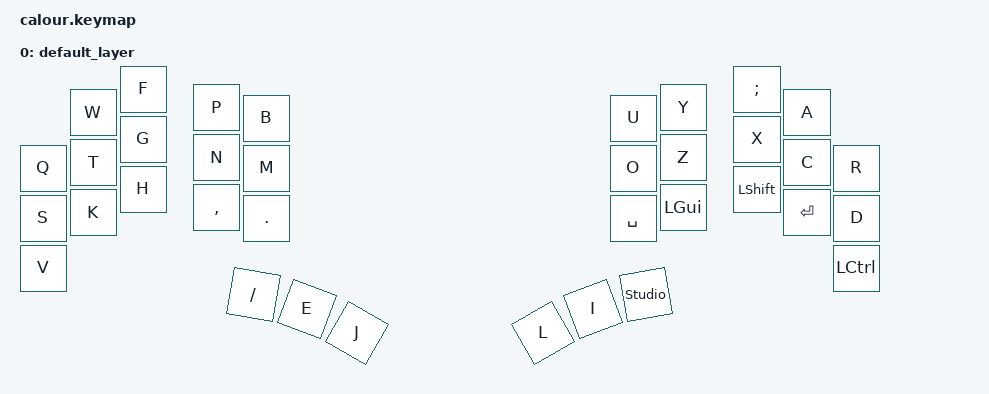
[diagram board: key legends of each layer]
// This file was generated from a template. Edit it to match your keyboard.
// See https://zmk.dev/docs/development/hardware-integration/new-shield for more instructions.

#include <behaviors.dtsi>
#include <dt-bindings/zmk/keys.h>

/*

TO TYPE:
Symbols: ~`@#$%^&*-_=+/\|;:'",.?! (Number of symbols: 24)
    Shifting Behaviour:
      ` -> ~

Paran: []<>{}() (Number of symbols: 8)
    Shifting Behaviour:
      () -> <>
      [] -> {}

Alphas: 26
Numbers: 10 (Shift turns into numpad)

Combo Possibilities:
Vertical: 2 per column incl. thumbs, so 2/col * 6col/side * 2 sides = 24
Horizontal: Index finger has 3/side, Pinky/Ring has 2/side, so (2/3)*2 = 10
Multi: Middle/Ring has 3/side, so 2*3 = 6
Homerow: 8 keys total, so 8C2 = 28
Homerow full chording: 219 combinations

24+10+6+28 = 68

*/
#define DEF 0
#define NAV 1
#define NUM 2

/ {
    // Define a default keymap here.
    // See https://zmk.dev/docs/development/hardware-integration/new-shield#default-keymap.
    keymap {
        compatible = "zmk,keymap";

        default_layer {
            bindings = <
                &kp Q &kp W &kp F &kp P &kp B   &kp J &kp L &kp U &kp Y &kp SEMICOLON
                &kp A &kp R &kp S &kp T &kp G   &kp N &kp M &kp E &kp I &kp O
                &kp Z &kp X &kp C &kp D &kp V   &kp K &kp H &kp COMMA &kp PERIOD &kp SLASH
            &studio_unlock &kp SPACE &kp LGUI   &kp LSHIFT &kp ENTER &kp LCTRL
            >;
        };

//        settings {
//            bindings = <
//    &studio_unlock &trans &trans &trans &trans    &bt BT_CLR  &trans &trans &trans &studio_unlock
//        &sys_reset &trans &trans &trans &trans    &bt BT_SEL 0 &bt BT_SEL 1 &bt BT_SEL 2 &bt BT_SEL 3 &sys_reset
//       &bootloader &trans &trans &trans &trans    &trans &trans &trans &trans &bootloader
//                          &trans &trans &trans    &trans &trans &trans
//            >;
//		};
		extra3 {
			status = "reserved";
		};
		extra4 {
			status = "reserved";
        };
		extra8 {
            status = "reserved";
        };
        extra9 {
            status = "reserved";
		};
		extra10 {
			status = "reserved";
		};
		extra11 {
			status = "reserved";
        };
		extra12 {
            status = "reserved";
        };
        extra13 {
            status = "reserved";
		};
		extra14 {
			status = "reserved";
		};
		extra15 {
			status = "reserved";
        };
    };
};
